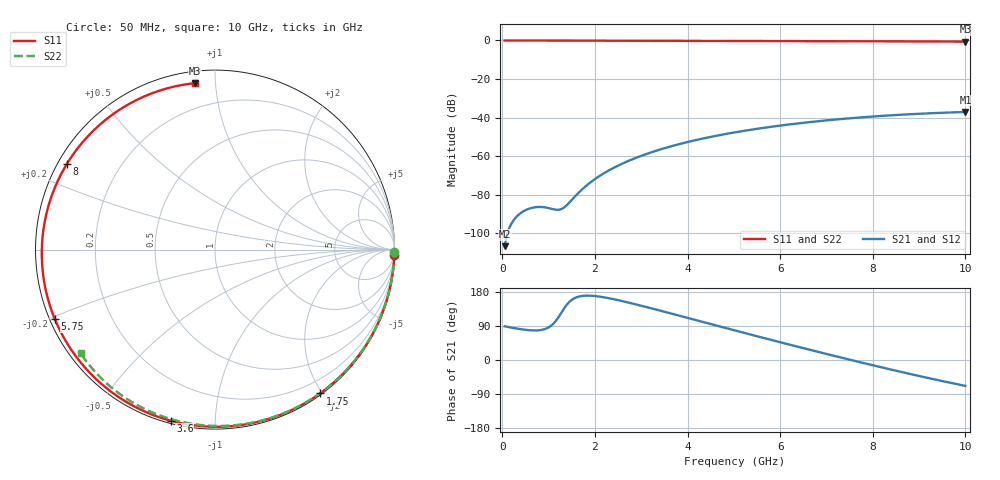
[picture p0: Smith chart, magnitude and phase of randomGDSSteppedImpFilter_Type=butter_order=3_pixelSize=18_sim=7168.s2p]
! freq	dB(S11)	phase(S11)	dB(S12)	phase(S12)
!  dB(S21)	phase(S21)	dB(S22)	phase(S22)
!S-par simulation data
#  GHz  S  DB  R 50
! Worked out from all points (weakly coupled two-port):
!   200 points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, 50 MHz to 10 GHz, reference 50 ohm
!   highest |S21| = -37.11 dB at 10 GHz (marker M1); lowest = -106.7 dB at 50 MHz (marker M2)
!   lowest |S11| = -0.6 dB at 10 GHz (marker M3), VSWR 29.30, Z = 3.05 + j44.3 ohm
!   |S11| at or under -10 dB: nowhere
!   |S22| runs from -0.5 to 0.0 dB; largest |S21 - S12| = 0
!   S11 on the Smith chart (normalised r, x): 50 MHz: 0, -72; 1.75 GHz: 0.02, -1.97; 3.6 GHz: 0.01, -0.77; 5.75 GHz: 0.01, -0.21; 8 GHz: 0.03, +0.27; 10 GHz: 0.06, +0.89
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0.05  -0.00 -1.6  -106.72 89.0  -106.72 89.0  -0.00 -0.8
0.4  -0.02 -12.6  -89.49 81.3  -89.49 81.3  -0.01 -6.6
0.8  -0.03 -25.1  -86.37 78.7  -86.37 78.7  -0.02 -13.1
1.2  -0.05 -37.4  -87.89 110.3  -87.89 110.3  -0.02 -19.6
1.6  -0.06 -49.4  -80.18 165.3  -80.18 165.3  -0.03 -26.0
1.75  -0.07 -53.8  -76.70 169.4  -76.70 169.4  -0.04 -28.4
2.05  -0.08 -62.6  -71.10 168.1  -71.10 168.1  -0.04 -33.1
2.45  -0.09 -73.9  -65.53 159.3  -65.53 159.3  -0.05 -39.4
2.9  -0.11 -86.2  -60.77 146.3  -60.77 146.3  -0.06 -46.3
3.4  -0.12 -99.4  -56.63 130.6  -56.63 130.6  -0.07 -53.9
3.6  -0.13 -104.6  -55.22 124.2  -55.22 124.2  -0.08 -56.9
4.3  -0.16 -122.0  -51.04 101.4  -51.04 101.4  -0.09 -67.2
5.05  -0.20 -140.0  -47.57 77.1  -47.57 77.1  -0.12 -77.9
5.75  -0.24 -156.4  -44.98 54.8  -44.98 54.8  -0.15 -87.6
6.25  -0.27 -168.1  -43.42 39.1  -43.42 39.1  -0.17 -94.3
6.7  -0.31 -178.6  -42.20 25.1  -42.20 25.1  -0.19 -100.3
7.35  -0.36 166.0  -40.69 5.4  -40.69 5.4  -0.23 -108.8
8  -0.41 150.1  -39.46 -13.9  -39.46 -13.9  -0.28 -117.1
8.35  -0.45 141.3  -38.89 -24.0  -38.89 -24.0  -0.31 -121.6
8.8  -0.49 129.7  -38.27 -36.7  -38.27 -36.7  -0.35 -127.2
9.25  -0.53 117.7  -37.76 -49.0  -37.76 -49.0  -0.40 -132.9
10  -0.59 96.9  -37.11 -68.4  -37.11 -68.4  -0.48 -142.4
